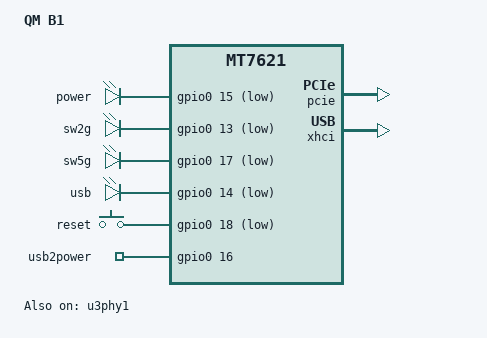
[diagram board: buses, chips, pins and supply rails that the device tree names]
/dts-v1/;

#include "mt7621.dtsi"
#include <dt-bindings/input/input.h>
#include "mt7621-spi-16m-layout.dtsi"
#include "mt7621-raeth-gmac2.dtsi"
#include "mt7621-pinctrl-default-gpio.dtsi"

/ {
	compatible = "mediatek,mt7621-soc";
	model = "QM B1";

	chosen {
		bootargs = "console=ttyS0,115200";
	};

	leds {
		compatible = "gpio-leds";

		power{
			label = "power";
			gpios = <&gpio0 15 GPIO_ACTIVE_LOW>;
		};

		sw2g {
			label = "sw2g";
			gpios = <&gpio0 13 GPIO_ACTIVE_LOW>;
		};

		sw5g {
			label = "sw5g";
			gpios = <&gpio0 17 GPIO_ACTIVE_LOW>;
		};
		
		usb {
                        label = "usb";
                        gpios = <&gpio0 14 GPIO_ACTIVE_LOW>;
                        linux,default-trigger = "usbport";
                };

	};

	gpio-keys-polled {
		compatible = "gpio-keys-polled";
		#address-cells = <1>;
		#size-cells = <0>;
		poll-interval = <20>;

		reset {
			label = "reset";
			gpios = <&gpio0 18 GPIO_ACTIVE_LOW>;
			linux,code = <KEY_RESTART>;
		};
				
	};
	
	gpio_export {
		compatible = "gpio-export";
		#size-cells = <0>;

		usb2power {
			gpio-export,name = "usb2power";
			gpio-export,output = <1>;
			gpios = <&gpio0 16 GPIO_ACTIVE_HIGH>;
		};
		
	};
};

&pcie {
	status = "okay";
};

&xhci {
	status = "okay";
};

&u3phy1 {
	status = "okay";
};
